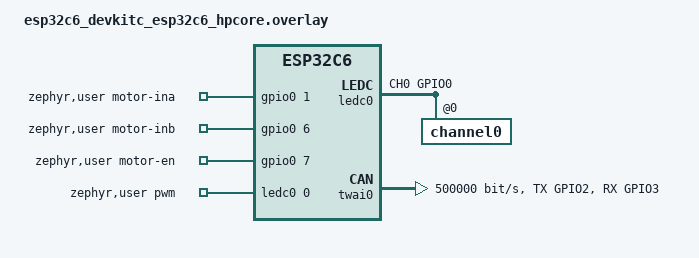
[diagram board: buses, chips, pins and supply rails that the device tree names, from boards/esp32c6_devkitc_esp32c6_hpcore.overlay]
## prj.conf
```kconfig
# ESP2 (Regler-Knoten) - Zephyr-Einstellungen
# Jede Zeile ist kommentiert, damit klar ist, wofuer sie da ist.

# --- Grundfunktionen ---
CONFIG_GPIO=y
# PWM (beim ESP32 ueber den LEDC-Baustein) fuer die Motor-Geschwindigkeit
CONFIG_PWM=y
# Mathe-Bibliothek (fabsf im Regler)
CONFIG_PICOLIBC=y
# 1 ms Zeitraster, damit der 10-ms-Takt genau ist
CONFIG_SYS_CLOCK_TICKS_PER_SEC=1000
CONFIG_MAIN_STACK_SIZE=4096
CONFIG_LOG=y

# --- CAN-Bus (TWAI) ---
CONFIG_CAN=y

# --- WLAN + Netzwerk (UDP) ---
CONFIG_WIFI=y
CONFIG_NETWORKING=y
CONFIG_NET_IPV4=y
CONFIG_NET_IPV6=n
CONFIG_NET_UDP=y
CONFIG_NET_SOCKETS=y
# zsock_poll() im Empfangs-Thread
CONFIG_ZVFS_POLL_MAX=4
CONFIG_NET_MGMT=y
CONFIG_NET_MGMT_EVENT=y
CONFIG_NET_MGMT_EVENT_INFO=y
CONFIG_NET_MGMT_EVENT_STACK_SIZE=4096
CONFIG_NET_MGMT_EVENT_QUEUE_SIZE=16
# IP-Adresse setzen wir selbst im Code (netzwerk.c), nicht automatisch
CONFIG_NET_CONFIG_AUTO_INIT=n
CONFIG_NET_PKT_RX_COUNT=64
CONFIG_NET_PKT_TX_COUNT=64
CONFIG_NET_BUF_RX_COUNT=128
CONFIG_NET_BUF_TX_COUNT=128
CONFIG_NET_MAX_CONTEXTS=8

# Alte Namen (struct in_addr, AF_INET ...) weiter erlauben - Zephyr hat sie umbenannt
CONFIG_NET_NAMESPACE_COMPAT_MODE=y

# Heap fuer den WLAN-Treiber (sonst "memory allocation failed")
CONFIG_HEAP_MEM_POOL_SIZE=98304
```

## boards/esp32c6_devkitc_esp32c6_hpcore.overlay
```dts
/*
 * Pin-Belegung ESP2 (Regler-Knoten) fuer das ESP32-C6-DevKitC
 * ============================================================
 * Die Pin-Nummern sind GPIO-Nummern. Gemieden werden die Strapping-Pins
 * GPIO4/5/8/9/15 und UART0 (GPIO16/17).
 *
 *   GPIO0  -> Motor PWM            (Monster Moto Shield: PWM1 / H-Bruecke: ENA)
 *   GPIO1  -> Motor INA            (Monster Moto Shield: INA1 / H-Bruecke: IN1)
 *   GPIO6  -> Motor INB            (Monster Moto Shield: INB1 / H-Bruecke: IN2)
 *   GPIO7  -> Motor Enable         (Monster Moto Shield: EN1/DIAG1)   [optional]
 *   GPIO2  -> CAN-Transceiver TXD
 *   GPIO3  <- CAN-Transceiver RXD
 *
 * Monster Moto Shield: Kanal 2 (INA2/INB2/PWM2) bleibt unbenutzt.
 * Die Shield-Logik laeuft mit 5 V -> Pegelanpassung noetig, siehe README.
 */
#include <zephyr/dt-bindings/gpio/gpio.h>
#include <zephyr/dt-bindings/pwm/pwm.h>

/ {
	zephyr,user {
		/* PWM-Kanal 0 des LEDC, Periode 50 us = 20 kHz (nicht hoerbar) */
		pwms = <&ledc0 0 PWM_USEC(50) PWM_POLARITY_NORMAL>;
		motor-ina-gpios = <&gpio0 1 GPIO_ACTIVE_HIGH>;
		motor-inb-gpios = <&gpio0 6 GPIO_ACTIVE_HIGH>;
		/* Enable-Pin nur eintragen, wenn dein Shield/Modul einen hat; sonst
		 * die folgende Zeile loeschen. */
		motor-en-gpios = <&gpio0 7 GPIO_ACTIVE_HIGH>;
	};
};

&pinctrl {
	ledc0_default: ledc0_default {
		group1 {
			pinmux = <LEDC_CH0_GPIO0>;
			output-enable;
		};
	};

	twai0_default: twai0_default {
		group1 {
			pinmux = <TWAI0_TX_GPIO2>;
			output-high;            /* CAN ist im Ruhezustand "high" */
		};
		group2 {
			pinmux = <TWAI0_RX_GPIO3>;
			bias-pull-up;
		};
	};
};

&ledc0 {
	pinctrl-0 = <&ledc0_default>;
	pinctrl-names = "default";
	status = "okay";
	#address-cells = <1>;
	#size-cells = <0>;

	channel0@0 {
		reg = <0x0>;
		timer = <0>;
	};
};

&twai0 {
	pinctrl-0 = <&twai0_default>;
	pinctrl-names = "default";
	bitrate = <500000>;             /* muss zu CAN_BITRATE in projekt_config.h passen */
	status = "okay";

	can-transceiver {
		max-bitrate = <1000000>;
	};
};
```

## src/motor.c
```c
/*
 * motor.c  -  siehe motor.h
 */
#include "motor.h"

#include <zephyr/drivers/gpio.h>
#include <zephyr/drivers/pwm.h>
#include <zephyr/kernel.h>
#include <zephyr/logging/log.h>

LOG_MODULE_REGISTER(motor, LOG_LEVEL_INF);

/* Bei Ansteuerung 0: 1 = bremsen (Motor kurzschliessen), 0 = frei auslaufen.
 * Bremsen ist fuer die Regelung besser (der Motor stoppt zuverlaessig). */
#define NULL_BREMST 1

#define BENUTZER DT_PATH(zephyr_user)
static const struct pwm_dt_spec pwm = PWM_DT_SPEC_GET(BENUTZER);
static const struct gpio_dt_spec pin_ina = GPIO_DT_SPEC_GET(BENUTZER, motor_ina_gpios);
static const struct gpio_dt_spec pin_inb = GPIO_DT_SPEC_GET(BENUTZER, motor_inb_gpios);

/* Optionaler Enable-Pin (beim Monster Moto Shield: "EN/DIAG"). Nur wenn im
 * Overlay "motor-en-gpios" angegeben ist. */
#if DT_NODE_HAS_PROP(BENUTZER, motor_en_gpios)
#define HAT_ENABLE 1
static const struct gpio_dt_spec pin_en = GPIO_DT_SPEC_GET(BENUTZER, motor_en_gpios);
#endif

int motor_start(void)
{
    if (!pwm_is_ready_dt(&pwm) || !gpio_is_ready_dt(&pin_ina) || !gpio_is_ready_dt(&pin_inb)) {
        LOG_ERR("Motor-Pins/PWM nicht bereit - Overlay pruefen");
        return -ENODEV;
    }
    gpio_pin_configure_dt(&pin_ina, GPIO_OUTPUT_INACTIVE);
    gpio_pin_configure_dt(&pin_inb, GPIO_OUTPUT_INACTIVE);
#ifdef HAT_ENABLE
    gpio_pin_configure_dt(&pin_en, GPIO_OUTPUT_ACTIVE);   /* Bruecke einschalten */
#endif
    motor_setzen(0);
    return 0;
}

void motor_setzen(int promille)
{
    if (promille > 1000) {
        promille = 1000;
    }
    if (promille < -1000) {
        promille = -1000;
    }

    if (promille == 0) {
        /* INA = INB = 0: Bruecke schliesst den Motor kurz (Bremse) */
        gpio_pin_set_dt(&pin_ina, 0);
        gpio_pin_set_dt(&pin_inb, 0);
        pwm_set_pulse_dt(&pwm, NULL_BREMST ? pwm.period : 0);
        return;
    }

    /* Richtung ueber INA/INB, Geschwindigkeit ueber die Pulsbreite */
    gpio_pin_set_dt(&pin_ina, promille > 0);
    gpio_pin_set_dt(&pin_inb, promille < 0);

    uint32_t betrag = (uint32_t)(promille > 0 ? promille : -promille);
    uint32_t puls = (uint32_t)(((uint64_t)pwm.period * betrag) / 1000U);

    pwm_set_pulse_dt(&pwm, puls);
}
```
